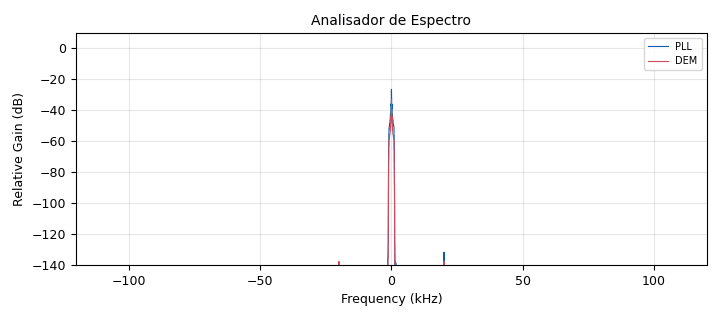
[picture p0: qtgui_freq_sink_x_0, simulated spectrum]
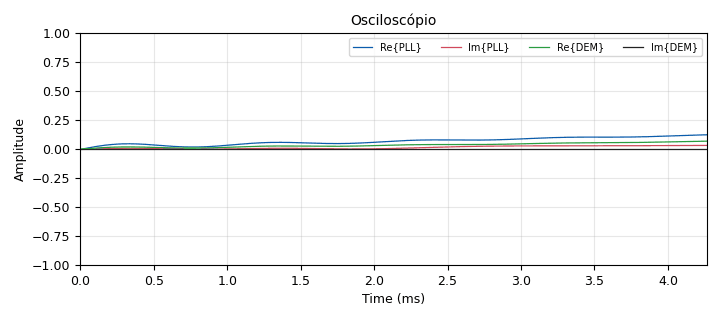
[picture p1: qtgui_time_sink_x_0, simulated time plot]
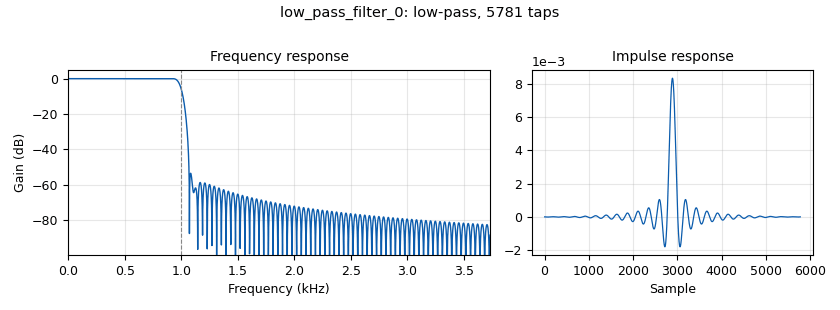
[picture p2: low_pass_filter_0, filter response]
options:
  parameters:
    author: pedro
    generate_options: qt_gui
    id: m180108140_Exp04_AR02
    output_language: python
    title: AR02
  states: {}

blocks:
- name: Am
  id: variable_qtgui_range
  parameters:
    gui_hint: (7,5,1,1)
    orient: Qt.Horizontal
    start: '0'
    step: '0.1'
    stop: '1'
    value: '0.1'
  states: {}
- name: An
  id: variable_qtgui_range
  parameters:
    gui_hint: (7,4,1,1)
    orient: Qt.Horizontal
    start: '0'
    step: '0.1'
    stop: '1'
    value: '0'
  states: {}
- name: DC
  id: variable_qtgui_range
  parameters:
    gui_hint: (7,2,1,1)
    orient: Qt.Horizontal
    start: '0'
    step: '0.1'
    stop: '1'
    value: '0.5'
  states: {}
- name: freq_m
  id: variable_qtgui_range
  parameters:
    gui_hint: (7,1,1,1)
    orient: Qt.Horizontal
    start: '50'
    step: '10'
    stop: '200'
    value: '50'
  states: {}
- name: fΔ
  id: variable_qtgui_range
  parameters:
    gui_hint: (7,3,1,1)
    orient: Qt.Horizontal
    start: '0'
    step: '100'
    stop: '2000'
    value: '500'
  states: {}
- name: pi
  id: variable
  parameters:
    value: '3.141592654'
  states: {}
- name: samp_rate
  id: variable
  parameters:
    value: '240000'
  states: {}
- name: analog_noise_source_x_0
  id: analog_noise_source_x
  parameters:
    amp: An
    noise_type: analog.GR_GAUSSIAN
    seed: '0'
    type: float
  states: {}
- name: analog_pll_refout_cc_0
  id: analog_pll_refout_cc
  parameters:
    max_freq: 2*pi*((10000+fΔ)/samp_rate)
    min_freq: 2*pi*((10000-fΔ)/samp_rate)
    w: pi/50
  states: {}
- name: analog_sig_source_x_0
  id: analog_sig_source_x
  parameters:
    amp: Am
    freq: '0.5'
    offset: '0'
    phase: '0'
    samp_rate: samp_rate
    type: float
    waveform: analog.GR_SIN_WAVE
  states: {}
- name: analog_sig_source_x_0_0
  id: analog_sig_source_x
  parameters:
    amp: '1'
    freq: freq_m
    offset: '-0.5'
    phase: '0'
    samp_rate: samp_rate
    type: float
    waveform: analog.GR_SAW_WAVE
  states: {}
- name: analog_sig_source_x_0_1
  id: analog_sig_source_x
  parameters:
    amp: '1'
    freq: '10000'
    offset: '0'
    phase: '0'
    samp_rate: samp_rate
    type: complex
    waveform: analog.GR_COS_WAVE
  states: {}
- name: analog_sig_source_x_0_1_0
  id: analog_sig_source_x
  parameters:
    amp: '1'
    freq: '10000'
    offset: '0'
    phase: '0'
    samp_rate: samp_rate
    type: float
    waveform: analog.GR_COS_WAVE
  states: {}
- name: blocks_add_const_vxx_0
  id: blocks_add_const_vxx
  parameters:
    const: DC
    type: float
  states: {}
- name: blocks_add_xx_0
  id: blocks_add_xx
  parameters:
    type: float
  states: {}
- name: blocks_complex_to_float_0
  id: blocks_complex_to_float
  parameters: {}
  states: {}
- name: blocks_float_to_complex_0
  id: blocks_float_to_complex
  parameters: {}
  states: {}
- name: blocks_float_to_complex_1
  id: blocks_float_to_complex
  parameters: {}
  states: {}
- name: blocks_multiply_xx_0
  id: blocks_multiply_xx
  parameters:
    type: float
  states: {}
- name: blocks_multiply_xx_0_0
  id: blocks_multiply_xx
  parameters:
    type: complex
  states: {}
- name: blocks_multiply_xx_0_0_0
  id: blocks_multiply_xx
  parameters:
    type: float
  states: {}
- name: blocks_multiply_xx_0_0_0_0
  id: blocks_multiply_xx
  parameters:
    type: complex
  states: {}
- name: blocks_throttle_0
  id: blocks_throttle
  parameters:
    samples_per_second: samp_rate
    type: float
  states: {}
- name: blocks_throttle_0_0
  id: blocks_throttle
  parameters:
    samples_per_second: samp_rate
    type: float
  states: {}
- name: blocks_throttle_0_1
  id: blocks_throttle
  parameters:
    samples_per_second: samp_rate
    type: complex
  states: {}
- name: blocks_throttle_0_1_0
  id: blocks_throttle
  parameters:
    samples_per_second: samp_rate
    type: float
  states: {}
- name: blocks_vco_c_0
  id: blocks_vco_c
  parameters:
    amplitude: '1'
    samp_rate: samp_rate
    sensitivity: 200*pi
  states: {}
- name: low_pass_filter_0
  id: low_pass_filter
  parameters:
    cutoff_freq: '1000'
    decim: '1'
    gain: '1'
    samp_rate: samp_rate
    type: fir_filter_ccf
    width: '100'
    win: firdes.WIN_HAMMING
  states: {}
- name: low_pass_filter_1
  id: low_pass_filter
  parameters:
    cutoff_freq: '1000'
    decim: '1'
    gain: '1'
    samp_rate: samp_rate
    type: fir_filter_ccf
    width: '100'
    win: firdes.WIN_HAMMING
  states: {}
- name: qtgui_freq_sink_x_0
  id: qtgui_freq_sink_x
  parameters:
    bw: samp_rate
    ctrlpanel: 'True'
    fc: '0'
    fftsize: '4096'
    grid: 'True'
    gui_hint: (1,4,6,3)
    label1: PLL
    label2: DEM
    name: Analisador de Espectro
    nconnections: '2'
    tr_mode: qtgui.TRIG_MODE_AUTO
    type: complex
    wintype: firdes.WIN_BLACKMAN_hARRIS
  states: {}
- name: qtgui_time_sink_x_0
  id: qtgui_time_sink_x
  parameters:
    ctrlpanel: 'True'
    grid: 'True'
    gui_hint: (1,1,6,3)
    label1: Re{PLL}
    label2: Im{PLL}
    label3: Re{DEM}
    label4: Im{DEM}
    name: Osciloscópio
    nconnections: '2'
    size: '1024'
    srate: samp_rate
    tr_mode: qtgui.TRIG_MODE_AUTO
    type: complex
    yunit: V
  states: {}

connections:
- [analog_noise_source_x_0, '0', blocks_add_xx_0, '1']
- [analog_pll_refout_cc_0, '0', blocks_multiply_xx_0_0_0_0, '0']
- [analog_sig_source_x_0, '0', blocks_throttle_0, '0']
- [analog_sig_source_x_0_0, '0', blocks_throttle_0_0, '0']
- [analog_sig_source_x_0_1, '0', blocks_throttle_0_1, '0']
- [analog_sig_source_x_0_1_0, '0', blocks_throttle_0_1_0, '0']
- [blocks_add_const_vxx_0, '0', blocks_multiply_xx_0, '0']
- [blocks_add_xx_0, '0', blocks_float_to_complex_0, '0']
- [blocks_add_xx_0, '0', blocks_multiply_xx_0_0_0, '0']
- [blocks_complex_to_float_0, '0', blocks_multiply_xx_0, '1']
- [blocks_float_to_complex_0, '0', analog_pll_refout_cc_0, '0']
- [blocks_float_to_complex_0, '0', blocks_multiply_xx_0_0_0_0, '1']
- [blocks_float_to_complex_1, '0', low_pass_filter_1, '0']
- [blocks_multiply_xx_0, '0', blocks_add_xx_0, '0']
- [blocks_multiply_xx_0_0, '0', blocks_complex_to_float_0, '0']
- [blocks_multiply_xx_0_0_0, '0', blocks_float_to_complex_1, '0']
- [blocks_multiply_xx_0_0_0_0, '0', low_pass_filter_0, '0']
- [blocks_throttle_0, '0', blocks_vco_c_0, '0']
- [blocks_throttle_0_0, '0', blocks_add_const_vxx_0, '0']
- [blocks_throttle_0_1, '0', blocks_multiply_xx_0_0, '0']
- [blocks_throttle_0_1_0, '0', blocks_multiply_xx_0_0_0, '1']
- [blocks_vco_c_0, '0', blocks_multiply_xx_0_0, '1']
- [low_pass_filter_0, '0', qtgui_freq_sink_x_0, '0']
- [low_pass_filter_0, '0', qtgui_time_sink_x_0, '0']
- [low_pass_filter_1, '0', qtgui_freq_sink_x_0, '1']
- [low_pass_filter_1, '0', qtgui_time_sink_x_0, '1']

metadata:
  file_format: 1
